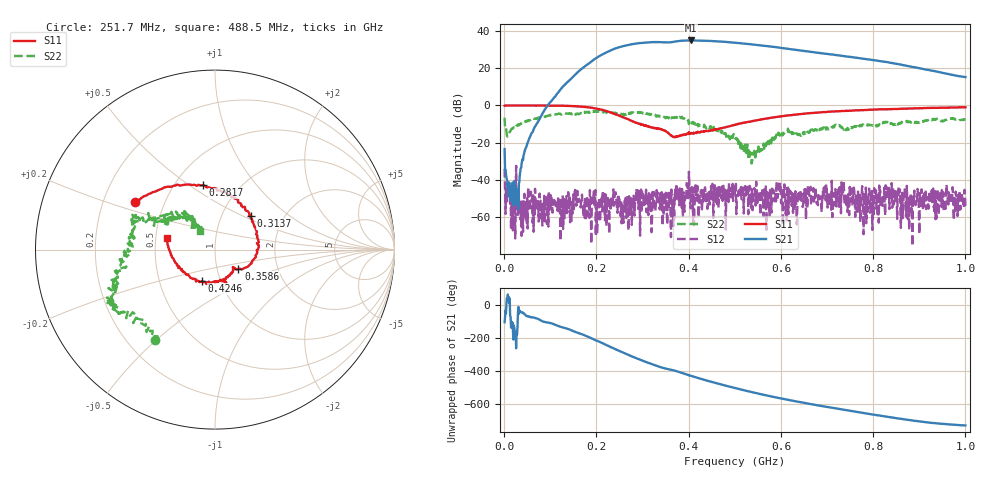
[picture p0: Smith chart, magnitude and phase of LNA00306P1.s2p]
! Created with skrf 1.9.0 (http://scikit-rf.org).
# Hz S RI R 50.0
!freq ReS11 ImS11 ReS21 ImS21 ReS12 ImS12 ReS22 ImS22
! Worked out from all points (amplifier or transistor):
!   1001 points, 1 MHz to 1 GHz, reference 50 ohm
!   highest |S21| = 34.9 dB at 404.6 MHz (marker M1)
!   |S21| within 3 dB of that: 259.1 MHz to 568.6 MHz (309.6 MHz wide, 74.8 % of centre)
!   unconditionally stable (mu >= 1): 5.475 MHz to 86.69 MHz; 286.7 MHz to 400.3 MHz; 401.2 MHz to end of sweep (the widest 3 of 25)
!   at 166.8 MHz: K = 1.38, MAG = 31.6 dB, |S12| = -51.2 dB
!   at 500.5 MHz: K = 1.77, MAG = 34.2 dB, |S12| = -44.9 dB
!   at 1 GHz: K = 6.85, MAG = 23.2 dB, |S12| = -53.8 dB
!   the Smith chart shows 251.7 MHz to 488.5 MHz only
!   S11 on the Smith chart (normalised r, x): 251.7 MHz: 0.34, +0.25; 281.7 MHz: 0.69, +0.57; 313.7 MHz: 1.37, +0.56; 358.6 MHz: 1.27, -0.28; 424.6 MHz: 0.82, -0.30; 488.5 MHz: 0.57, +0.08
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1000000  0.9842 -0.000306  -0.0156 -0.0657  -0.0197 0.00214  0.2866 0.3732
1.08892e8  0.511 -0.8523  -0.7571 -1.476  0.00158 0.00236  0.447 -0.3634
1.67833e8  -0.2498 -0.8939  -9.584 -0.747  0.00326 0.000301  0.0477 -0.6157
2.12788e8  -0.6918 -0.3164  -15.15 17.81  0.000291 -0.00141  -0.1755 -0.6498
2.31769e8  -0.6424 0.00567  -8.133 29.29  0.00313 -0.00149  -0.2372 -0.5842
2.51749e8  -0.443 0.2638  6.215 36.8  0.00166 0.000258  -0.3335 -0.505
2.81719e8  -0.0658 0.3589  32.1 31.7  0.000156 0.00274  -0.5664 -0.3169
3.13687e8  0.1988 0.1887  48.91 8.155  -0.00203 0.00393  -0.5533 -0.1716
3.34666e8  0.2429 0.00989  49.44 -9.456  -0.00132 0.00226  -0.5049 -0.0708
3.58642e8  0.1309 -0.1081  43.17 -24.14  -0.00367 0.000156  -0.4414 0.0796
3.79621e8  0.1006 -0.1113  38.54 -37.63  -0.00208 -0.00025  -0.4304 0.1571
4.04596e8  0.0283 -0.1732  21.77 -51.31  0.000423 0.00168  -0.3352 0.1582
4.24576e8  -0.0715 -0.1752  6.24 -54.62  0.00476 0.000765  -0.2451 0.1616
4.53547e8  -0.1925 -0.1071  -15.09 -51.14  0.000957 -4.37e-06  -0.1228 0.1759
4.88512e8  -0.2685 0.0657  -33.59 -36.78  0.00427 -0.0022  -0.0829 0.1038
5.005e8  -0.2693 0.1318  -37.84 -30.69  0.00245 -0.00516  -0.0977 0.091
5.4046e8  -0.1961 0.3342  -42.16 -9.345  0.00364 -0.000551  -0.0533 0.0132
5.88412e8  0.0114 0.4881  -35.18 10.97  0.00376 -0.002  -0.1023 -0.0847
6.67333e8  0.3884 0.4932  -13.95 23.32  -0.00303 -0.00107  -0.2227 -0.0421
7.55245e8  0.6749 0.2786  3.521 19.4  -0.000669 -0.00203  -0.2611 0.0247
8.34166e8  0.7947 0.0276  10.2 9.992  -0.00359 -0.00499  -0.3423 -0.0162
1e9  0.7352 -0.5138  5.751 -0.648  -0.00195 -0.000568  -0.3085 0.2773
